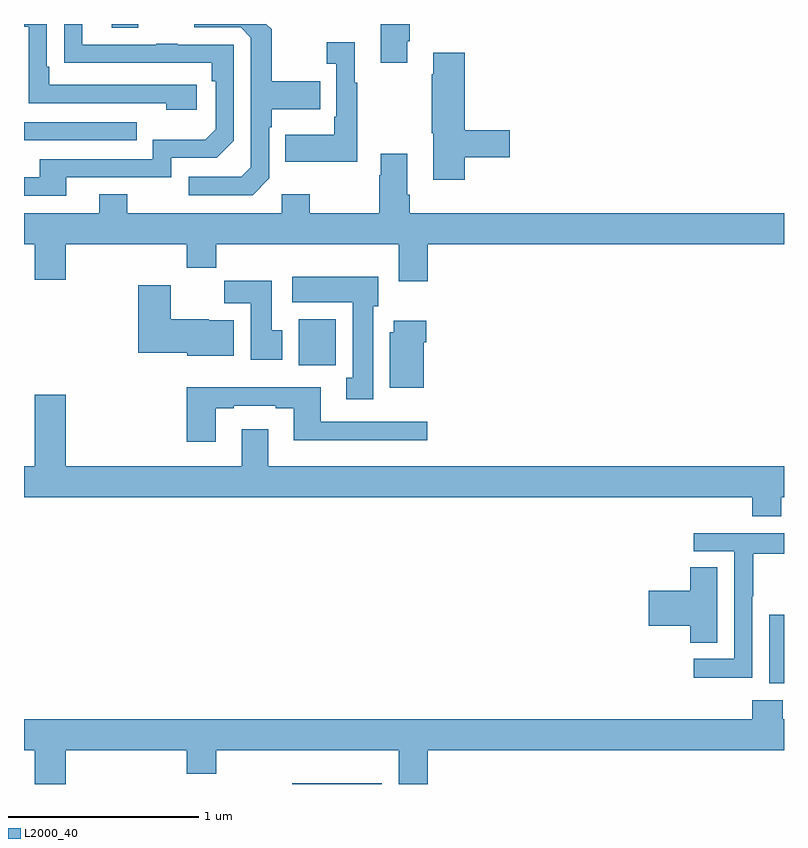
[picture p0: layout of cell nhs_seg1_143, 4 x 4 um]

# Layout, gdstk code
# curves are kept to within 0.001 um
import gdstk
lib = gdstk.Library(unit=1e-6, precision=1e-09)
def R(c, l, rs):  # rectangles x0, y0, x1, y1
    for r in rs: c.add(gdstk.rectangle(r[:2], r[2:], *l))
def P(c, l, *ps):  # polygons
    for p in ps: c.add(gdstk.Polygon(p, *l))
L2000_40 = (2000, 40)

nhs_seg1_143 = lib.new_cell('nhs_seg1_143')
R(nhs_seg1_143, L2000_40, [(118.413,574.199,118.882,574.204), (120.923,574.73,121,575.091), (118.445,576.404,118.642,576.646), (117,577.587,117.593,577.683), (117.461,578.178,117.601,578.199)])
P(nhs_seg1_143, L2000_40, [(119.017,578.107),(119.03,578.107),(119.03,578.199),(118.877,578.199),(118.877,577.995),(119.017,577.995)],
  [(118.29,577.386),(118.29,577.655),(118.303,577.655),(118.303,577.751),(118.559,577.751),(118.559,577.899),(118.303,577.899),(118.303,578.171),(118.275,578.199),(117.897,578.199),(117.897,578.181),(118.14,578.181),(118.194,578.127),(118.194,577.446),(118.143,577.395),(117.867,577.395),(117.867,577.299),(118.203,577.299)],
  [(117.223,577.392),(117.774,577.392),(117.774,577.494),(118.014,577.494),(118.104,577.584),(118.104,578.091),(117.809,578.091),(117.809,578.096),(117.697,578.096),(117.697,578.091),(117.307,578.091),(117.307,578.199),(117.211,578.199),(117.211,577.996),(117.988,577.995),(117.988,577.898),(118.008,577.898),(118.008,577.644),(117.955,577.591),(117.678,577.591),(117.678,577.488),(117.083,577.488),(117.083,577.392),(117,577.392),(117,577.296),(117.223,577.296)],
  [(117.91,577.878),(117.133,577.878),(117.133,577.975),(117.12,577.975),(117.12,578.199),(117,578.199),(117,578.184),(117.024,578.184),(117.024,577.782),(117.749,577.782),(117.749,577.748),(117.91,577.748)],
  [(118.753,577.891),(118.741,577.891),(118.741,578.104),(118.593,578.104),(118.593,577.991),(118.644,577.991),(118.644,577.711),(118.632,577.711),(118.632,577.615),(118.375,577.615),(118.375,577.475),(118.753,577.475)],
  [(119.321,577.498),(119.557,577.498),(119.557,577.64),(119.321,577.64),(119.321,578.047),(119.153,578.047),(119.153,577.934),(119.146,577.934),(119.146,577.623),(119.153,577.623),(119.153,577.38),(119.321,577.38)],
  [(119.126,577.04),(121,577.04),(121,577.204),(119.03,577.204),(119.03,577.3),(119.017,577.3),(119.017,577.516),(118.877,577.516),(118.877,577.403),(118.87,577.403),(118.87,577.204),(118.503,577.204),(118.503,577.303),(118.356,577.303),(118.356,577.204),(117.543,577.204),(117.543,577.303),(117.395,577.303),(117.395,577.204),(117,577.204),(117,577.04),(117.056,577.04),(117.056,576.852),(117.22,576.852),(117.22,577.04),(117.857,577.04),(117.857,576.916),(118.013,576.916),(118.013,577.04),(118.973,577.04),(118.973,576.846),(119.126,576.846)],
  [(118.837,576.714),(118.864,576.714),(118.864,576.868),(118.413,576.868),(118.413,576.734),(118.73,576.734),(118.73,576.338),(118.697,576.338),(118.697,576.225),(118.837,576.225)],
  [(118.36,576.588),(118.303,576.588),(118.303,576.847),(118.054,576.847),(118.054,576.728),(118.193,576.728),(118.193,576.432),(118.36,576.432)],
  [(118.105,576.64),(117.972,576.64),(117.972,576.646),(117.772,576.646),(117.772,576.823),(117.602,576.823),(117.602,576.47),(117.858,576.47),(117.858,576.452),(118.105,576.452)],
  [(119.104,576.524),(119.117,576.524),(119.117,576.637),(118.946,576.637),(118.946,576.576),(118.925,576.576),(118.925,576.284),(119.104,576.284)],
  [(118.009,576.177),(118.105,576.177),(118.105,576.189),(118.325,576.189),(118.325,576.177),(118.421,576.177),(118.421,576.008),(119.122,576.008),(119.122,576.105),(118.561,576.105),(118.561,576.286),(117.857,576.286),(117.857,576),(118.009,576)],
  [(120.985,575.708),(121,575.708),(121,575.872),(118.285,575.872),(118.285,576.067),(118.145,576.067),(118.145,575.872),(117.22,575.872),(117.22,576.247),(117.056,576.247),(117.056,575.872),(117,575.872),(117,575.708),(120.833,575.708),(120.833,575.609),(120.985,575.609)],
  [(120.834,575.188),(120.837,575.188),(120.837,575.412),(121,575.412),(121,575.52),(120.525,575.52),(120.525,575.424),(120.738,575.424),(120.738,574.857),(120.525,574.857),(120.525,574.759),(120.834,574.759)],
  [(120.649,575.339),(120.506,575.339),(120.506,575.216),(120.288,575.216),(120.288,575.033),(120.506,575.033),(120.506,574.942),(120.649,574.942)],
  [(117.22,574.376),(117.857,574.376),(117.857,574.252),(118.013,574.252),(118.013,574.376),(118.973,574.376),(118.973,574.199),(119.126,574.199),(119.126,574.376),(121,574.376),(121,574.54),(120.993,574.54),(120.993,574.639),(120.833,574.639),(120.833,574.54),(117,574.54),(117,574.376),(117.056,574.376),(117.056,574.199),(117.22,574.199)])

lib.write_gds('nhs_seg1_143.gds')
